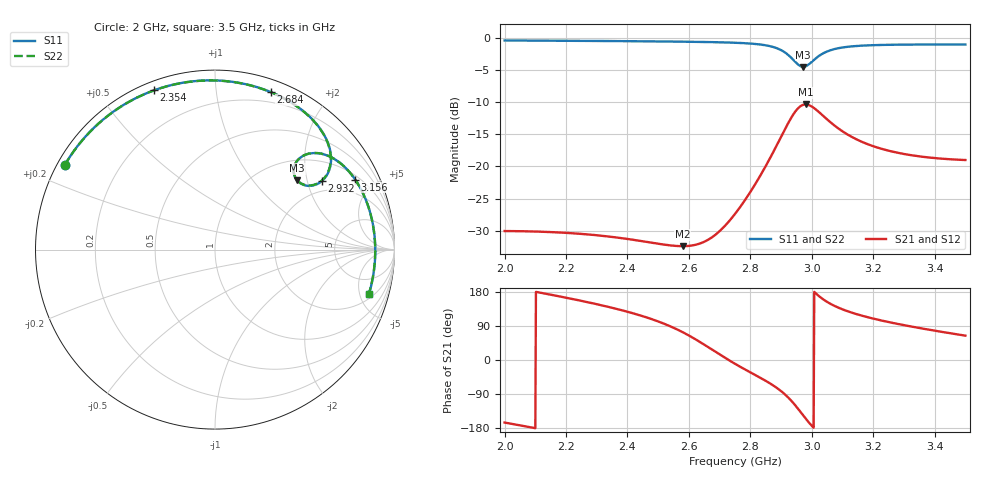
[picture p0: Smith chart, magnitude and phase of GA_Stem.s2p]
! Touchstone file exported from HFSS 2022.1.0
!  File:  C:/Users/Hamza Safder/Downloads/PSF-V2 with holder (4).aedt
!  Generated:  12:48:04 AM  Sep 30, 2023
!  Design:  HFSSDesign1
!  Project:  PSF-V2 with holder (4)
!  Setup:  Setup1
!  Solution:  Sweep
! Variables:
!  WS = 5mm
!  ax = 15mm
!  az = 3.18mm
!  azd = 3mm
!  bx = 13mm
!  bx2 = 12.5mm
!  bx3 = 3.16mm
!  cin = 27.8mm
!  gap = 0.7mm
!  mid = 3mm
!  shift = 21.24mm
!  strip_1L = 18.62mm
!  substrate_L = 80mm
!  substrate_W = 70mm
!  t = 3mm
!  w50 = 9.18mm
!  wt = 1mm
!  xs = 0.8mm
!  zzz = 8mm
# GHz S MA R 50.000000
! Terminal data exported
! Port[1] = ground_T1
! Port[2] = ground_T2
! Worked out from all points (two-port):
!   751 points, 2 GHz to 3.5 GHz, reference 50 ohm
!   highest |S21| = -10.33 dB at 2.98 GHz (marker M1); lowest = -32.4 dB at 2.58 GHz (marker M2)
!   |S21| within 3 dB of the highest: 2.922 GHz to 3.067 GHz (144.5 MHz wide, 4.82 % of centre)
!   lowest |S11| = -4.5 dB at 2.972 GHz (marker M3), VSWR 3.98, Z = 72.5 + j87 ohm
!   |S11| at or under -10 dB: nowhere
!   |S22| runs from -4.4 to -0.4 dB; largest |S21 - S12| = 5.4e-15
!   S11 on the Smith chart (normalised r, x): 2 GHz: 0.02, +0.26; 2.354 GHz: 0.04, +0.69; 2.684 GHz: 0.11, +1.41; 2.932 GHz: 1.61, +2.47; 3.156 GHz: 1.19, +3.90; 3.5 GHz: 2.51, -6.10
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2  0.9605 150.8  0.0314 -165.0  0.0314 -165.0  0.9602 150.8
! Gamma 0 0 0 0
! Port Impedance 50 0 50 0
2.25  0.9537 122.9  0.02982 156.1  0.02982 156.1  0.9534 122.9
2.354  0.9502 110.9  0.02817 137.0  0.02817 137.0  0.9498 110.9
2.5  0.9441 93.6  0.02499 101.7  0.02499 101.7  0.9437 93.7
2.58  0.9397 83.8  0.02393 73.3  0.02393 73.3  0.9393 83.9
2.636  0.9358 76.8  0.02511 47.5  0.02511 47.5  0.9353 76.8
2.684  0.9313 70.6  0.0291 22.9  0.0291 22.9  0.9308 70.6
2.75  0.9218 61.6  0.04267 -10.0  0.04267 -10.0  0.9213 61.7
2.816  0.9019 51.7  0.07297 -39.6  0.07297 -39.6  0.9013 51.9
2.872  0.8572 42.1  0.1261 -65.9  0.1261 -65.9  0.8566 42.2
2.904  0.7981 36.2  0.1779 -84.8  0.1779 -84.8  0.7978 36.4
2.932  0.7083 32.7  0.2375 -106.4  0.2375 -106.4  0.7085 32.9
2.952  0.6338 34.1  0.2787 -125.5  0.2787 -125.5  0.6346 34.3
2.972  0.5982 40.1  0.3023 -146.4  0.3023 -146.4  0.5996 40.3
2.98  0.6039 42.8  0.3043 -154.6  0.3043 -154.6  0.6054 43.0
3  0.6547 46.9  0.2933 -173.6  0.2933 -173.6  0.6561 47.0
3.026  0.7349 46.2  0.2621 166.8  0.2621 166.8  0.7359 46.2
3.056  0.7987 41.9  0.2262 150.4  0.2262 150.4  0.7992 42.0
3.156  0.8731 26.5  0.1584 118.6  0.1584 118.6  0.873 26.6
3.25  0.8885 13.9  0.1328 100.1  0.1328 100.1  0.8881 14.0
3.37  0.8931 -0.9  0.1183 81.6  0.1183 81.6  0.8926 -0.8
3.5  0.8929 -16.0  0.1123 64.2  0.1123 64.2  0.8923 -15.9
